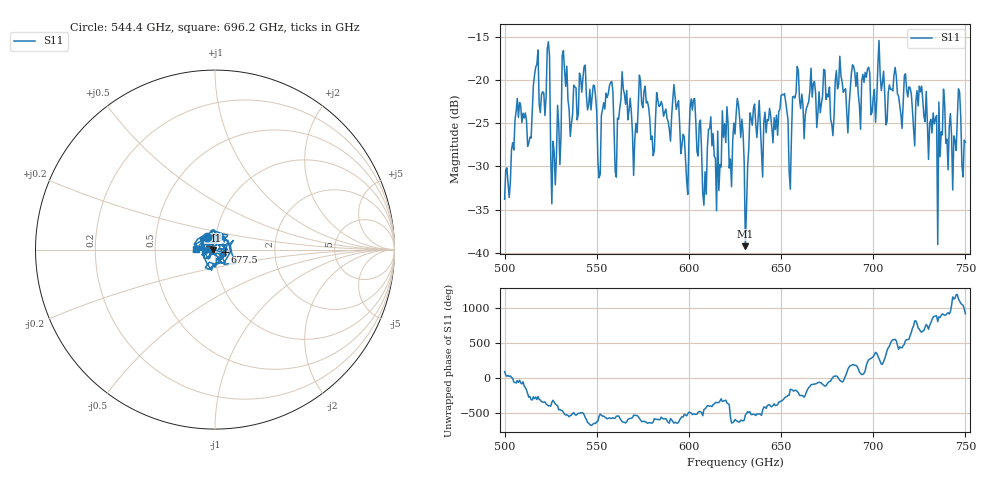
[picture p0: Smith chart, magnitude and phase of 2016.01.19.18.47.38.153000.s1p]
!Created with skrf (http://scikit-rf.org).
# GHz S RI R 50.0
!freq ReS11 ImS11
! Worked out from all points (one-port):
!   401 points, 500 GHz to 750 GHz, reference 50 ohm
!   lowest |S11| = -39.2 dB at 630.6 GHz (marker M1), VSWR 1.02, Z = 48.9 - j0.166 ohm
!   |S11| at or under -10 dB: start of sweep to end of sweep
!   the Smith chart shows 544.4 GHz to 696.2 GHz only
!   S11 on the Smith chart (normalised r, x): 544.4 GHz: 0.91, +0.12; 677.5 GHz: 1.11, -0.03; 696.2 GHz: 0.81, +0.01
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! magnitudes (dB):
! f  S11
! 500 GHz  -33.8
! 507.5 GHz  -24.3
! 513.8 GHz  -26.6
! 516.9 GHz  -18.5
! 523.1 GHz  -16.4
! 526.2 GHz  -27.1
! 531.2 GHz  -17.2
! 544.4 GHz  -21.8
! 551.2 GHz  -31.3
! 556.2 GHz  -21.6
! 560.6 GHz  -31.2
! 562.5 GHz  -23.2
! 593.8 GHz  -22.9
! 598.8 GHz  -31.6
! 602.5 GHz  -22.2
! 608.1 GHz  -34.5
! 611.9 GHz  -24.3
! 616.2 GHz  -32.8
! 625 GHz  -26.3
! 630.6 GHz  -39.2
! 634.4 GHz  -25.2
! 656.2 GHz  -22.0
! 658.1 GHz  -21.4
! 677.5 GHz  -25.1
! 687.5 GHz  -21.2
! 696.2 GHz  -19.7
! 718.8 GHz  -22.0
! 750 GHz  -27.2
